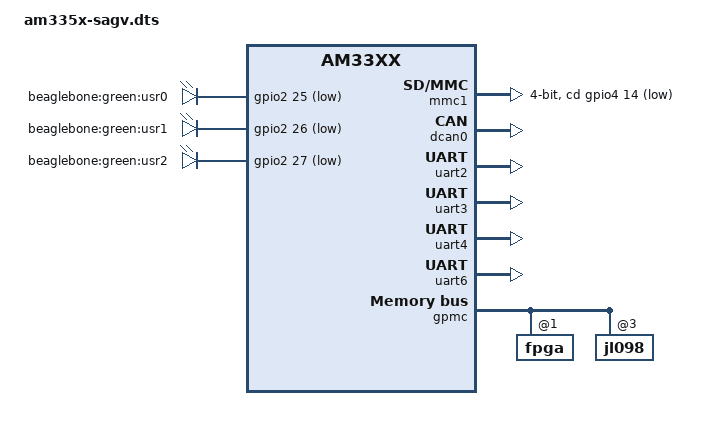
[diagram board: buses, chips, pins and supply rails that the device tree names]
/*
 * Copyright (C) 2012 Texas Instruments Incorporated - http://www.ti.com/
 *
 * This program is free software; you can redistribute it and/or modify
 * it under the terms of the GNU General Public License version 2 as
 * published by the Free Software Foundation.
 */
/dts-v1/;

/include/ "am33xx.dtsi"

/include/ "am335x-agv-common.dtsi"

&cpu {
	/*
	 * To consider voltage drop between PMIC and SoC,
	 * tolerance value is reduced to 2% from 4% and
	 * voltage value is increased as a precaution.
	 */
	operating-points = <
		/* kHz    uV */
		800000	1300000
		600000  1112000
		300000   969000
	>;
};

&i2c2 {
	status = "disabled";
};

&am33xx_pinmux {
	userled_pins: pinmux_userled_pins {
		pinctrl-single,pins = <
			0x64 0x7	/* GPMC_A9 GPIO1[25], OUTPUT | MODE7 */
			0x68 0x7	/* GPMC_A10 GPIO1[26], OUTPUT | MODE7 */
			0x6C 0x7	/* GPMC_A11 GPIO1[27], OUTPUT | MODE7 */
		>;
	};
	gpmc_pins: pinmux_gpmc_pins {
		pinctrl-single,pins = <
			/* for fpga */
			0x20	0x30	/* gpmc_ad8.gpmc_ad8 MODE0 | INPUT | PULLUP */
			0x24	0x30	/* gpmc_ad9.gpmc_ad9 MODE0 | INPUT | PULLUP */
			0x28	0x30	/* gpmc_ad10.gpmc_ad10 MODE0 | INPUT | PULLUP */
			0x2C	0x30	/* gpmc_ad11.gpmc_ad11 MODE0 | INPUT | PULLUP */
			0x30	0x30	/* gpmc_ad12.gpmc_ad12 MODE0 | INPUT | PULLUP */
			0x34	0x30	/* gpmc_ad13.gpmc_ad13 MODE0 | INPUT | PULLUP */
			0x38	0x30	/* gpmc_ad14.gpmc_ad14 MODE0 | INPUT | PULLUP */
			0x3C	0x30	/* gpmc_ad15.gpmc_ad15 MODE0 | INPUT | PULLUP */
			0x80	0x08	/* gpmc_cscn1.gpmc_cscn1 MODE0 | OUTPUT */
			0x40	0x08	/* gpmc_a0.gpmc_a0 MODE0 */
			0x44	0x08	/* gpmc_a1.gpmc_a1 MODE0 */
			0x48	0x08	/* gpmc_a2.gpmc_a2 MODE0 */
			0x4C	0x08	/* gpmc_a3.gpmc_a2 MODE0 */
			0x50	0x08	/* gpmc_a4.gpmc_a4 MODE0 */
			0x54	0x08	/* gpmc_a5.gpmc_a5 MODE0 */
			0x58	0x08	/* gpmc_a6.gpmc_a6 MODE0 */
			0x5C	0x08	/* gpmc_a7.gpmc_a7 MODE0 */
			0x60	0x08	/* gpmc_a8.gpmc_a8 MODE0 */
			0x8C	0x32	/* gpmc_CLK.gpmc_wait1 MODE2 */
		>;
	};
	mmc1_pins: pinmux_mmc1_pins {
		pinctrl-single,pins = <
			0x190 0x2f /* GPIO3_14 (PIN_INPUT | MUX_MODE7) */
		>;
	};
	dcan0_pins: pinmux_dcan0_pins {
		pinctrl-single,pins = <
			0x178 0x12 	/* uart1_ctsn, SLEWCTRL_FAST | INPUT_PULLUP | MODE2 | TX */
			0x17c 0x32	/* uart1_rtsn, SLEWCTRL_FAST | RECV_ENABLE | INPUT_PULLUP | MODE2 | RX */
		>;
	};
	uart2_pins: pinmux_uart2_pins {
		pinctrl-single,pins = <
			0x180 0x30	/* uart1_rxd, MODE0 | PULLUP_EN | RXACTIVE */
			0x184 0x0	/* uart1_txd, MODE0 */
		>;
	};
	uart3_pins: pinmux_uart3_pins {
		pinctrl-single,pins = <
			0x150 0x31	/* spi0_clk, MODE1 | PULLUP_EN | RXACTIVE */
			0x154 0x01	/* spi0_d0, MODE1 */
		>;
	};
	uart4_pins: pinmux_uart4_pins {
		pinctrl-single,pins = <
			0x160 0x31	/* spi0_cs1, MODE1 | PULLUP_EN | RXACTIVE */
			0x164 0x01	/* lcd_enbkl eCAP0_in_PWM0_out, MODE1 */
		>;
	};
	uart6_pins: pinmux_uart6_pins {
		pinctrl-single,pins = <
			0xC0 0x34	/* lcd_data8, MODE4 | PULLUP_EN | RXACTIVE */
			0xC4 0x04	/* lcd_data9, MODE4 */
		>;
	};
	gpio_helper_pins: pinmux_gpio_helper_pins {
		pinctrl-single,pins = <
			0x60 0x7	/* GPMC_A8 GPIO1[24], OUTPUT | MODE7 --> USER LED */
			0x1ac 0x17	/* mcasp0_ahclkx GPIO3[21], OUTPUT_PULLUP | MODE7 --> UART5_DE */
			0x1a0 0x17	/* mcasp0_aclkr GPIO3[18], OUTPUT_PULLUP | MODE7 --> UART3_DE */
			0x1A8 0x17	/* mcasp0_axr1 GPIO3[20], OUTPUT_PULLUP | MODE7 --> FAN_PWR */
			/*0x19C 0x17	 mcasp0_ahclkr GPIO3[17], OUTPUT_PULLUP | MODE7 --> JL098_RST */
			/*0x1A8 0x17	 mcasp0_axr0 GPIO3[20],  | MODE7 --> JL098_INT */
		>;
	};
};

&ocp {
	gpio-leds {
		compatible = "gpio-leds";
		pinctrl-names = "default";
		pinctrl-0 = <&userled_pins>;

		led0 {
			label = "beaglebone:green:usr0";
			gpios = <&gpio2 25 1>;
			linux,default-trigger = "heartbeat";
			default-state = "off";
		};

		led1 {
			label = "beaglebone:green:usr1";
			gpios = <&gpio2 26 1>;
			linux,default-trigger = "mmc0";
			default-state = "off";
		};

		led2 {
			label = "beaglebone:green:usr2";
			gpios = <&gpio2 27 1>;
			linux,default-trigger = "cpu0";
			default-state = "off";
		};

/*		led3 {
			label = "beaglebone:green:usr3";
			gpios = <&gpio2 27 1>;
			default-state = "off";
			linux,default-trigger = "mmc1";
		};*/
	};

	gpio_helper {
		compatible = "gpio-of-helper";
		status = "okay";
		pinctrl-names = "default";
		pinctrl-0 = <&gpio_helper_pins>;

		/* declare your gpios */
		test_led {
			gpio-name = "test_led";
			gpio = <&gpio2 24 0x00>;	/* gpio2 is gpio1, active_low = 0 */
			output;
			init-high;
		};
		fan_power_en {
			gpio-name = "fan_power_en";
			gpio = <&gpio4 20 0x00>;		/* gpio4 is gpio3, active_low = 0 */
			output;
			init-low;
		};
		uart3_de {
			gpio-name = "uart3_de";
			gpio = <&gpio4 18 0x00>;		/* gpio4 is gpio3, active_low = 0 */
			output;
			init-low;
		};
		uart5_de {
			gpio-name = "uart5_de";
			gpio = <&gpio4 21 0x00>;		/* gpio4 is gpio3, active_low = 0 */
			output;
			init-low;
		};
	};
};

&cpsw_emac0 {
	phy_id = <&davinci_mdio>, <0>;
};

&cpsw_emac1 {
	phy_id = <&davinci_mdio>, <1>;
};

&mmc1 {
	pinctrl-names = "default";
	pinctrl-0 = <&mmc1_pins>;
	bus-width = <0x4>;
	cd-gpios = <&gpio4 14 0>; /* gpio3 is misnamed, 0 == GPIO_ACTIVE_HIGH */
	cd-inverted;
	status = "okay";
	/* vmmc-supply = <&ldo4_reg>; */
	ti,vcc-aux-disable-is-sleep;
};

&dcan0 {
	status = "okay";
	pinctrl-names = "default";
	pinctrl-0 = <&dcan0_pins>;
};

&uart2 {
	pinctrl-names = "default";
	pinctrl-0 = <&uart2_pins>;
	status = "okay";
};

&uart3 {
	pinctrl-names = "default";
	pinctrl-0 = <&uart3_pins>;
	status = "okay";
};

&uart4 {
	pinctrl-names = "default";
	pinctrl-0 = <&uart4_pins>;
	status = "okay";
};

&uart6 {
	pinctrl-names = "default";
	pinctrl-0 = <&uart6_pins>;
	status = "okay";
};

&gpmc {
	status = "okay";
	pinctrl-names = "default";
	pinctrl-0 = <&gpmc_pins>;
	ranges = <1 0 0x10000000 0x1000000>,	/* CS1: 16MB for fpga */
			 <2 0 0x20000000 0x1000000>;	/* CS2: 16MB for jl-098 */
	fpga@1,0 {
		reg = <1 0 0x1000000>;		/* CS1, offset 0 */
		bank-width = <2>;
		gpmc,device-width = <2>;
		gpmc,sync-clk-ps = <0>;		/* timings */
		gpmc,cs-on-ns = <0>;
		gpmc,cs-rd-off-ns = <80>;
		gpmc,cs-wr-off-ns = <70>;
		gpmc,adv-on-ns = <0>;
		gpmc,adv-rd-off-ns = <0>;
		gpmc,adv-wr-off-ns = <0>;
		gpmc,we-on-ns = <10>;
		gpmc,we-off-ns = <70>;
		gpmc,oe-on-ns = <10>;
		gpmc,oe-off-ns = <70>;
		gpmc,access-ns = <60>;
		gpmc,rd-cycle-ns = <70>;
		gpmc,wr-cycle-ns = <60>;
		gpmc,wr-access-ns = <10>;
		#address-cells = <1>;
		#size-cells = <1>;
	};
	jl098@2,0 {
		reg = <3 0 0x1000000>;		/* CS2, offset 0 */
		bank-width = <2>;
		gpmc,device-width = <2>;
		gpmc,sync-clk-ps = <0>;		/* timings */
		gpmc,cs-on-ns = <0>;
		gpmc,cs-rd-off-ns = <90>;
		gpmc,cs-wr-off-ns = <90>;
		gpmc,adv-on-ns = <0>;
		gpmc,adv-rd-off-ns = <0>;
		gpmc,adv-wr-off-ns = <0>;
		gpmc,we-on-ns = <0>;
		gpmc,we-off-ns = <90>;
		gpmc,oe-on-ns = <0>;
		gpmc,oe-off-ns = <90>;
		gpmc,access-ns = <60>;		/* read access time */
		gpmc,rd-cycle-ns = <100>;
		gpmc,wr-cycle-ns = <60>;
		gpmc,wr-access-ns = <60>;
		gpmc,wait-on-read = "true";
		gpmc,wait-on-write = "true";
		gpmc,wait-pin = <1>;
		gpmc,wait-pin-polarity = <1>;
		gpmc,wait-monitoring-ns = <0>;
		#address-cells = <1>;
		#size-cells = <1>;
	};
};
